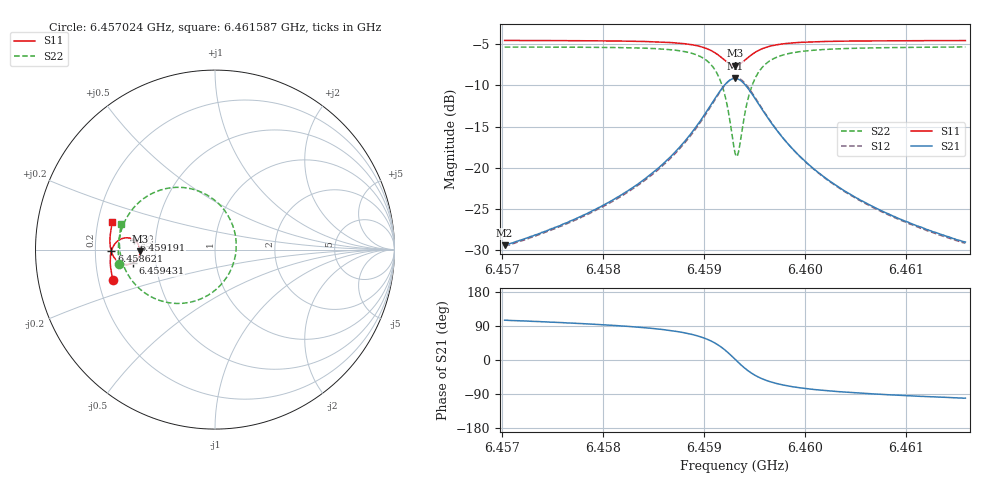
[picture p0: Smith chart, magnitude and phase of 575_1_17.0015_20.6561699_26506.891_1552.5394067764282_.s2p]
#  HZ  S  RI  R  50.00
! Rohde & Schwarz Vector Network Analyzer
! Rohde-Schwarz,ZNB20-2Port,1311601062101988,3.16
! Created: UTC 3/20/2024, 11:17:52 PM
! freq[Hz]  re:S11  im:S11  re:S21  im:S21  re:S12  im:S12  re:S22  im:S22
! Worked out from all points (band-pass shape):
!   401 points, 6.457024 GHz to 6.461587 GHz, reference 50 ohm
!   highest |S21| = -9.15 dB at 6.459306 GHz (marker M1); lowest = -29.4 dB at 6.457024 GHz (marker M2)
!   |S21| within 3 dB of the highest: 6.459078 GHz to 6.459534 GHz (456.5 kHz wide, 0.00707 % of centre)
!   lowest |S11| = -7.6 dB at 6.459306 GHz (marker M3), VSWR 2.43, Z = 20.6 - j0.425 ohm
!   |S11| at or under -10 dB: nowhere
!   |S22| runs from -18.6 to -5.3 dB; largest |S21 - S12| = 0.014
!   S11 on the Smith chart (normalised r, x): 6.457024 GHz: 0.26, -0.14; 6.458621 GHz: 0.27, -0.01; 6.459191 GHz: 0.37, +0.05; 6.459431 GHz: 0.37, -0.07; 6.461587 GHz: 0.26, +0.12
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6.4570238e9  -0.5677 -0.1686  -0.00877 0.0327  -0.00698 0.0328  -0.5338 -0.0804
6.4577882e9  -0.5813 -0.1014  -0.0054 0.0509  -0.00279 0.0504  -0.5385 0.00963
6.4582331e9  -0.5838 -0.0566  0.00137 0.0719  0.00471 0.0704  -0.5288 0.0813
6.4585526e9  -0.5797 -0.0179  0.0147 0.0994  0.0188 0.0968  -0.5036 0.155
6.458621e9  -0.5776 -0.00844  0.0202 0.1079  0.0244 0.1047  -0.4934 0.175
6.458815e9  -0.5646 0.0219  0.0472 0.1391  0.0514 0.134  -0.4428 0.2444
6.4589633e9  -0.5418 0.0482  0.093 0.1695  0.0961 0.1628  -0.3582 0.309
6.4591002e9  -0.4976 0.0656  0.1809 0.1858  0.1819 0.1783  -0.1973 0.3469
6.4591915e9  -0.4529 0.0551  0.2714 0.154  0.2716 0.1481  -0.0295 0.2952
6.4592599e9  -0.4235 0.0226  0.3321 0.0813  0.3344 0.076  0.0863 0.164
6.4593055e9  -0.4167 -0.00853  0.3483 0.0128  0.3521 0.0059  0.1182 0.0356
6.459317e9  -0.4172 -0.0168  0.348 -0.00513  0.352 -0.0128  0.1176 0.00164
6.4593398e9  -0.4207 -0.0324  0.3423 -0.0399  0.3463 -0.0492  0.1062 -0.0648
6.4593854e9  -0.4364 -0.0588  0.3132 -0.1002  0.3156 -0.1124  0.0476 -0.1788
6.459431e9  -0.4587 -0.0751  0.2709 -0.1417  0.27 -0.155  -0.0386 -0.2541
6.4595223e9  -0.5024 -0.0821  0.1852 -0.1727  0.1788 -0.1844  -0.2095 -0.3001
6.4596706e9  -0.5466 -0.0615  0.0966 -0.1583  0.0879 -0.1647  -0.3787 -0.2494
6.4598418e9  -0.5691 -0.0319  0.0493 -0.1283  0.0416 -0.131  -0.4633 -0.1716
6.4600699e9  -0.581 0.00176  0.0221 -0.098  0.0163 -0.0987  -0.5076 -0.093
6.4604122e9  -0.5855 0.0427  0.00606 -0.0711  0.00199 -0.0705  -0.5289 -0.0134
6.4608343e9  -0.5834 0.0853  -0.00159 -0.0523  -0.00448 -0.0514  -0.5329 0.0549
6.4615873e9  -0.5714 0.1521  -0.00657 -0.0349  -0.0084 -0.0339  -0.5215 0.1443
